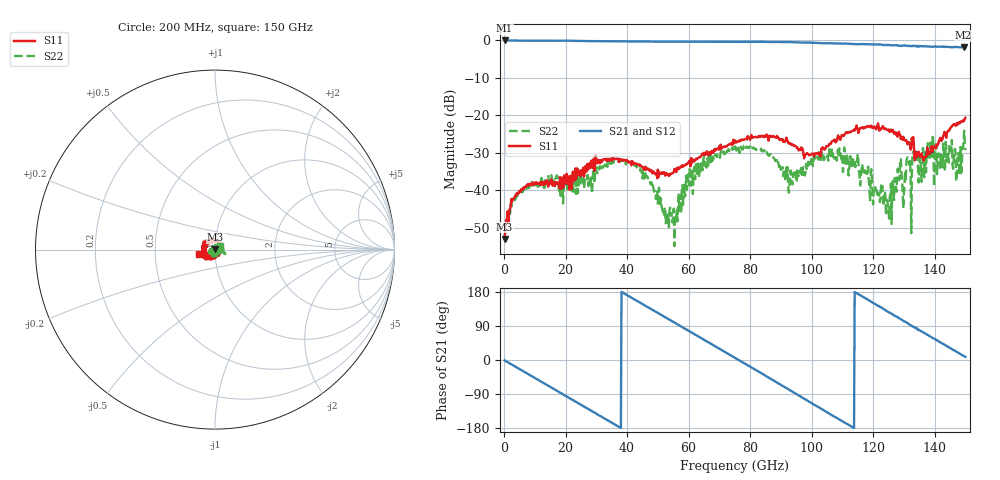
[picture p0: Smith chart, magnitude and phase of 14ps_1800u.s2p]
!  2-Port S-parameters saved by WinCal
! VAR MeasName=S-Parameters (CALIBRATED_DATA) read from VNA (MS4647B)
! VAR MeasDate=16-Sep-21 11:28:36
! VAR NAME=14ps_1800u
! VAR FILENAME=14ps_1800u.S2P
! VAR DATE=16-Sep-21 11:28:36
! VAR PHYS_PORTS=1,2
! VAR ObjTypeName=DATASET
! VAR IndexType=Frequency
# Hz S RI R 50
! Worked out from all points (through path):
!   750 points, 200 MHz to 150 GHz, reference 50 ohm
!   highest |S21| = -0.02 dB at 200 MHz (marker M1); lowest = -1.9 dB at 149.4 GHz (marker M2)
!   group delay of S21, straight-line fit = 13.2 ps
!   lowest |S11| = -52.9 dB at 200 MHz (marker M3), VSWR 1.00, Z = 50.2 + j0.086 ohm
!   |S11| at or under -10 dB: start of sweep to end of sweep
!   |S22| runs from -54.9 to -24.1 dB; largest |S21 - S12| = 0.039
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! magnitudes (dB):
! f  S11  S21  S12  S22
! 200 MHz  -52.9  0.0  0.0  -52.6
! 6.2 GHz  -39.7  -0.1  -0.1  -40.0
! 25.2 GHz  -34.6  -0.2  -0.2  -37.0
! 38.8 GHz  -32.1  -0.3  -0.2  -32.1
! 50.2 GHz  -36.5  -0.3  -0.3  -40.5
! 55.8 GHz  -34.3  -0.3  -0.3  -46.4
! 59.8 GHz  -32.7  -0.3  -0.3  -35.8
! 75.2 GHz  -27.0  -0.4  -0.4  -28.3
! 93 GHz  -27.3  -0.4  -0.5  -35.3
! 100.2 GHz  -30.2  -0.6  -0.6  -30.9
! 114.6 GHz  -22.7  -1.0  -0.9  -33.1
! 125.2 GHz  -24.1  -1.2  -1.2  -47.5
! 128.4 GHz  -24.4  -1.4  -1.3  -37.3
! 130 GHz  -26.2  -1.3  -1.4  -41.1
! 131.4 GHz  -27.5  -1.5  -1.5  -32.1
! 132 GHz  -27.9  -1.4  -1.5  -31.8
! 133.4 GHz  -30.7  -1.5  -1.5  -31.8
! 136.6 GHz  -31.3  -1.6  -1.6  -36.5
! 139 GHz  -28.3  -1.7  -1.6  -31.7
! 147.6 GHz  -22.4  -1.8  -1.8  -30.1
! 149.4 GHz  -21.7  -1.9  -1.9  -27.2
! 150 GHz  -20.6  -1.9  -1.9  -29.2
